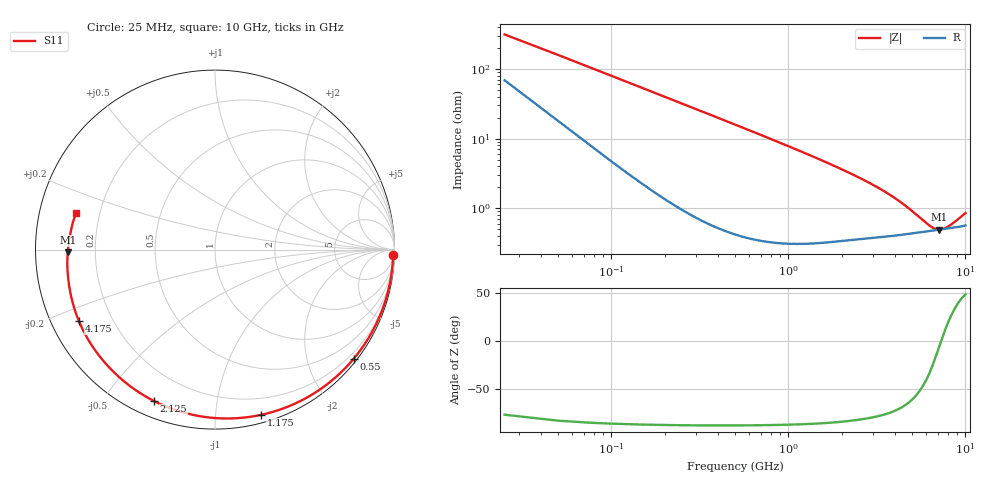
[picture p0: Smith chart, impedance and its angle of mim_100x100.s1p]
#  Hz  S  RI  R  5
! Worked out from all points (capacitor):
!   400 points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, 25 MHz to 10 GHz, reference 5 ohm
!   read as one part to ground: C = 19.9 pF near 75 MHz
!   lowest |Z| = 495 mohm at 7.125 GHz (marker M1)
!   series resonance near 7.296 GHz, so ESL is about 24 pH
!   S11 on the Smith chart (normalised r, x): 25 MHz: 14, -61; 550 MHz: 0.08, -2.89; 1.175 GHz: 0.06, -1.31; 2.125 GHz: 0.07, -0.67; 4.175 GHz: 0.08, -0.25; 10 GHz: 0.11, +0.13
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2.5e7  0.9925 -0.031
1.5e8  0.975 -0.1843
2.75e8  0.9336 -0.331
4e8  0.8709 -0.4661
5.5e8  0.7729 -0.608
7e8  0.6572 -0.7241
8.5e8  0.5315 -0.8133
1e9  0.4025 -0.8766
1.175e9  0.2549 -0.9212
1.275e9  0.1744 -0.9346
1.475e9  0.0247 -0.94
1.7e9  -0.1227 -0.9208
1.9e9  -0.2345 -0.8889
2.125e9  -0.3405 -0.8433
2.325e9  -0.4192 -0.798
2.525e9  -0.4856 -0.751
2.8e9  -0.5602 -0.6862
3.1e9  -0.6243 -0.6173
3.425e9  -0.6779 -0.5465
3.775e9  -0.7215 -0.475
4.175e9  -0.7576 -0.3997
5.025e9  -0.8013 -0.2622
5.625e9  -0.8156 -0.1809
6.275e9  -0.8223 -0.1038
7.125e9  -0.8205 -0.016
7.525e9  -0.8167 0.0205
8.775e9  -0.7997 0.1199
1e10  -0.7732 0.2028
